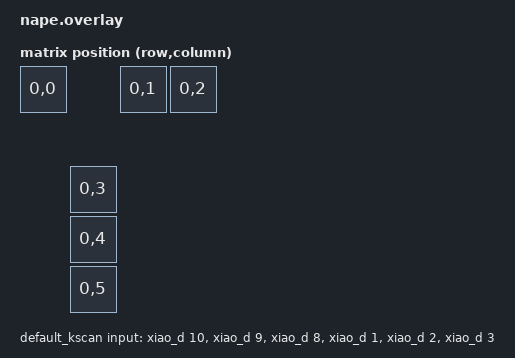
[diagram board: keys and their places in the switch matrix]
#include <dt-bindings/zmk/matrix_transform.h>
#include <physical_layouts.dtsi>

/ {
    chosen {
        zmk,kscan = &default_kscan;
        zmk,physical-layout = &physical_layout0;
    };

    default_kscan: kscan {
        compatible = "zmk,kscan-gpio-direct";
        label = "default_kscan";

        input-gpios =
            <&xiao_d 10 (GPIO_PULL_UP | GPIO_ACTIVE_LOW)>,  // 表面 左キー
            <&xiao_d 9  (GPIO_PULL_UP | GPIO_ACTIVE_LOW)>,  // 表面 中央キー
            <&xiao_d 8  (GPIO_PULL_UP | GPIO_ACTIVE_LOW)>,  // 表面 右キー
            <&xiao_d 1  (GPIO_PULL_UP | GPIO_ACTIVE_LOW)>,  // 裏面 上スイッチ
            <&xiao_d 2  (GPIO_PULL_UP | GPIO_ACTIVE_LOW)>,  // 裏面 中央スイッチ
            <&xiao_d 3  (GPIO_PULL_UP | GPIO_ACTIVE_LOW)>;  // 裏面 下スイッチ
    };

    physical_layout0: physical_layout_0 {
        compatible = "zmk,physical-layout";
        display-name = "Nape Physical Layout";
        kscan = <&default_kscan>;
        transform = <&default_transform>;

        keys = 
            <&key_physical_attrs 100 100   0    100   0 0 0>,  // 表面 左キー (1U)
            <&key_physical_attrs 100 100 200    100   0 0 0>,  // 表面 中央キー (1U)
            <&key_physical_attrs 100 100 300    100   0 0 0>,  // 表面 右キー (1U)
            <&key_physical_attrs 100 100   100  300   0 0 0>,  // 裏面 上スイッチ (1U)
            <&key_physical_attrs 100 100   100  400   0 0 0>,  // 裏面 中央スイッチ (1U)
            <&key_physical_attrs 100 100   100  500   0 0 0>;  // 裏面 下スイッチ (1U)
    };

    default_transform: keymap_transform0 {
        compatible = "zmk,matrix-transform";
        rows = <1>;
        columns = <6>;
        map = <
            RC(0,0) RC(0,1) RC(0,2) RC(0,3) RC(0,4) RC(0,5)
        >;
    };

    trackball_listener {
        compatible = "zmk,input-listener";
        device = <&trackball>;
        scroller {
            layers = <10>;
            input-processors = <&zip_xy_to_scroll_mapper &zip_xy_transform (INPUT_TRANSFORM_Y_INVERT)>;
        };
    };
};

&pinctrl {
    spi0_default: spi0_default {
        group1 {
            psels = <NRF_PSEL(SPIM_SCK, 0, 5)>,  // SCLK
                   <NRF_PSEL(SPIM_MOSI, 0, 4)>,  // SDIO
                   <NRF_PSEL(SPIM_MISO, 0, 4)>;  // SDIO
        };
    };

    spi0_sleep: spi0_sleep {
        group1 {
            psels = <NRF_PSEL(SPIM_SCK, 0, 5)>,  // SCLK
                   <NRF_PSEL(SPIM_MOSI, 0, 4)>,  // SDIO
                   <NRF_PSEL(SPIM_MISO, 0, 4)>;  // SDIO
            low-power-enable;
        };
    };
};

&xiao_serial { status = "disabled"; };

&spi0 {
    status = "okay";
    compatible = "nordic,nrf-spim";
    pinctrl-0 = <&spi0_default>;
    pinctrl-1 = <&spi0_sleep>;
    pinctrl-names = "default", "sleep";
    cs-gpios = <&xiao_d 6 (GPIO_ACTIVE_LOW | GPIO_PULL_UP)>;
    
    trackball: trackball@0 {
        status = "okay";
        compatible = "pixart,pmw3610";
        reg = <0>;
        spi-max-frequency = <2000000>;
        irq-gpios = <&xiao_d 0 (GPIO_ACTIVE_LOW | GPIO_PULL_UP)>;

        scroll-layers = <10>;
    };
};
